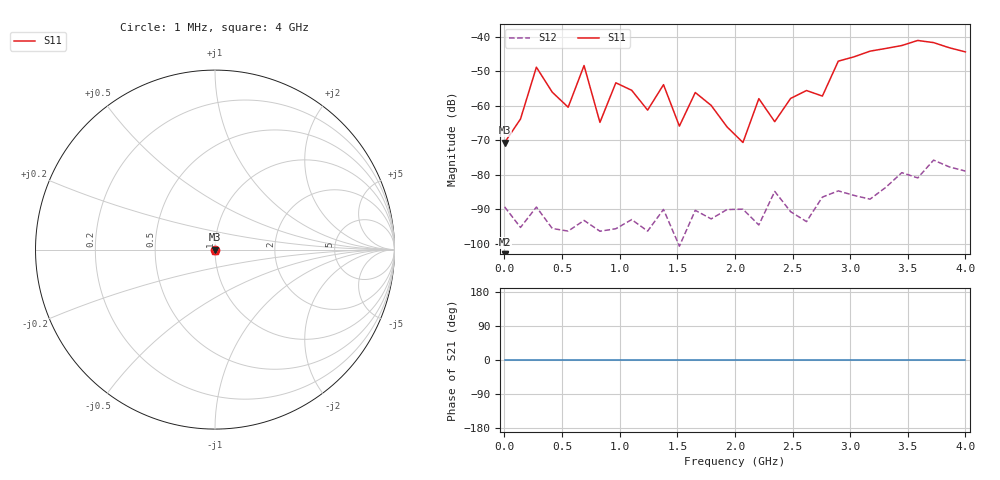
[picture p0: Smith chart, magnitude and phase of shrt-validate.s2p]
!Created with skrf (http://scikit-rf.org).
# GHz S DB R 50.0
!freq dBS11 angS11 dBS21 angS21 dBS12 angS12 dBS22 angS22
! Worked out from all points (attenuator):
!   30 points, 1 MHz to 4 GHz, reference 50 ohm
!   highest |S21| = - dB at 1 MHz (marker M1); lowest = - dB at 1 MHz (marker M2)
!   lowest |S11| = -70.6 dB at 1 MHz (marker M3), VSWR 1.00, Z = 50 - j0.0234 ohm
!   |S11| at or under -10 dB: start of sweep to end of sweep
!   |S22| runs from - to - dB; largest |S21 - S12| = 0.00016
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0.001  -70.64 -127.3  -200.00 0.0  -89.27 -85.8  -200.00 0.0
0.1388966  -63.82 -128.7  -200.00 0.0  -95.25 17.1  -200.00 0.0
0.2767931  -48.79 30.5  -200.00 0.0  -89.33 132.0  -200.00 0.0
0.5525862  -60.40 -149.5  -200.00 0.0  -96.31 138.4  -200.00 0.0
0.6904828  -48.31 143.7  -200.00 0.0  -93.21 -125.5  -200.00 0.0
0.8283793  -64.79 42.8  -200.00 0.0  -96.34 -90.0  -200.00 0.0
0.9662759  -53.31 -123.3  -200.00 0.0  -95.62 -85.6  -200.00 0.0
1.242069  -61.24 76.1  -200.00 0.0  -96.31 131.6  -200.00 0.0
1.379966  -53.86 75.1  -200.00 0.0  -90.02 139.9  -200.00 0.0
1.517862  -65.87 -5.3  -200.00 0.0  -100.68 105.9  -200.00 0.0
1.655759  -56.13 -171.9  -200.00 0.0  -90.29 85.2  -200.00 0.0
2.069448  -70.62 76.0  -200.00 0.0  -89.97 -143.1  -200.00 0.0
2.207345  -57.91 34.4  -200.00 0.0  -94.54 61.7  -200.00 0.0
2.345241  -64.58 -4.8  -200.00 0.0  -84.80 -68.0  -200.00 0.0
2.483138  -57.85 -168.3  -200.00 0.0  -90.68 177.5  -200.00 0.0
2.621034  -55.55 66.6  -200.00 0.0  -93.55 25.0  -200.00 0.0
2.758931  -57.16 74.4  -200.00 0.0  -86.45 -43.9  -200.00 0.0
2.896828  -47.04 -45.9  -200.00 0.0  -84.65 139.4  -200.00 0.0
3.448414  -42.51 -56.8  -200.00 0.0  -79.36 107.2  -200.00 0.0
3.58631  -41.04 -172.5  -200.00 0.0  -80.89 -35.3  -200.00 0.0
3.724207  -41.66 99.8  -200.00 0.0  -75.73 -135.6  -200.00 0.0
4  -44.35 -92.4  -200.00 0.0  -78.91 -15.6  -200.00 0.0
